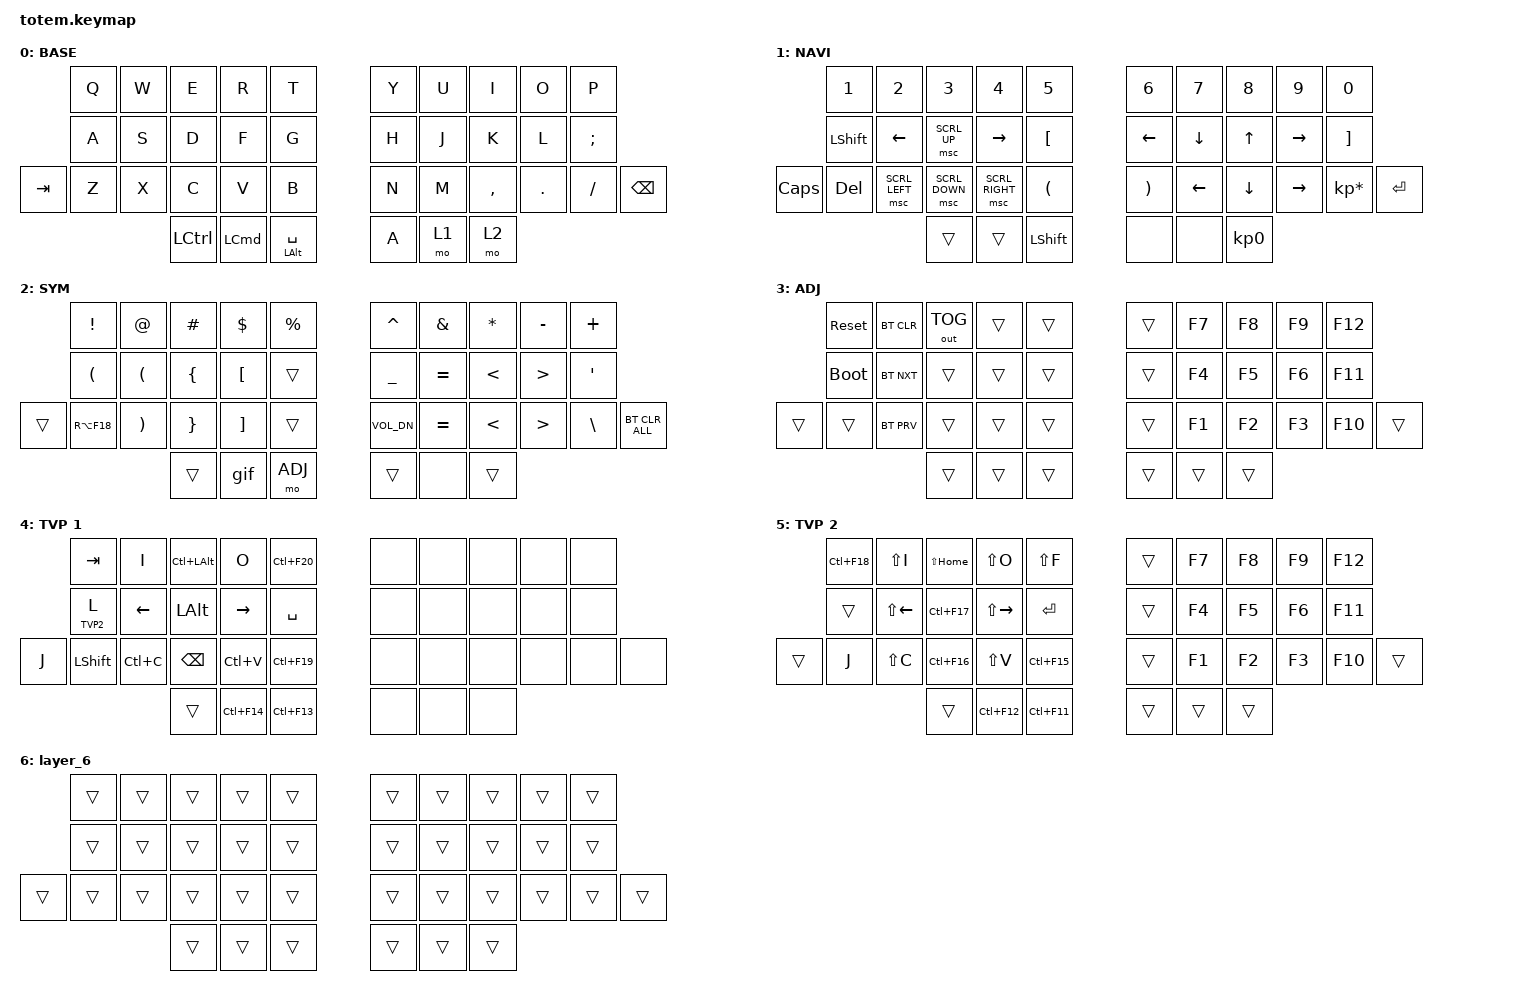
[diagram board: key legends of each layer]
//
//                                                        ▀▀▀▀▀     ▀▀▀▀▀          ▀▀█▀▀
//                                                        ▄▀▀▀▄  ▄  ▄▀▀▀▄  ▄  ▄▀▀▀▄  █  ▄▀▀▀▄
//                                                        █   █  █  █   █  █  █   █  █  █   █
//                                                         ▀▀▀   █   ▀▀▀   █   ▀▀▀   ▀   ▀▀▀
//                                                               █      ▄▄▄█▄▄▄    █   █  
//                                                               ▀      █  █  █     █▄█
//                                                             ▀▀▀▀▀    █  █  █      ▀
//                                                                      ▀  ▀  ▀
//
// ▄▄▄▄▄▄▄▄▄▄▄▄▄▄▄▄▄▄▄▄▄▄▄▄▄▄▄▄▄▄▄▄▄▄▄▄▄▄▄▄▄▄▄▄▄▄▄▄▄▄▄▄▄▄▄▄▄▄▄▄▄▄▄▄▄▄▄▄▄▄▄▄▄▄▄▄▄▄▄▄▄▄▄▄▄▄▄▄▄▄▄▄▄▄▄▄▄▄▄▄▄▄▄▄▄▄▄▄▄▄▄▄▄▄▄▄▄▄▄▄▄▄▄▄▄▄▄▄▄▄▄▄▄▄▄▄▄▄▄▄▄▄▄▄▄▄▄▄▄

#include <behaviors.dtsi>
#include <dt-bindings/zmk/bt.h>
#include <dt-bindings/zmk/keys.h>
#include <dt-bindings/zmk/outputs.h>
#include <dt-bindings/zmk/pointing.h>

#define BASE 0
#define NAV  1
#define SYM  2
#define ADJ  3
#define TVP1 4
#define TVP2 5

&mt {
    quick-tap-ms = <100>;
    global-quick-tap;
    flavor = "tap-preferred";
    tapping-term-ms = <170>;
};

/ {
    combos {
        compatible = "zmk,combos";

        combo_esc {
            timeout-ms = <50>;
            key-positions = <0 1>;
            bindings = <&kp ESC>;
        };

        combo_tvp {
            timeout-ms = <100>;
            key-positions = <11 12 13>;
            bindings = <&tog TVP1>;
        };

        enter {
            bindings = <&kp ENTER>;
            key-positions = <15 16>;
        };
    };

    macros {
        gif: gif {
            label = "giphy";
            compatible = "zmk,behavior-macro";
            #binding-cells = <0>;
            bindings =
                <&macro_press>,
                <&kp LSHFT>,
                <&macro_tap>,
                <&kp N2>,
                <&macro_release>,
                <&kp LSHFT>,
                <&macro_tap>,
                <&kp G &kp I &kp F>;
        };
    };

    keymap {
        compatible = "zmk,keymap";

        // ▄▄▄▄▄▄▄▄▄▄▄▄▄▄▄▄▄▄▄▄▄▄▄▄▄▄▄▄▄▄▄▄▄▄▄▄▄▄▄▄▄▄▄▄▄▄▄▄▄▄▄▄▄▄▄▄▄▄▄▄▄▄▄▄▄▄▄▄▄▄▄▄▄▄▄▄▄▄▄▄▄▄▄▄▄▄▄▄▄▄▄▄▄▄▄▄▄▄▄▄▄▄▄▄▄▄▄▄▄▄▄▄▄▄▄▄▄▄▄▄▄▄▄▄▄▄▄▄▄▄▄▄▄▄▄▄▄▄▄▄▄▄▄▄▄▄▄▄▄

        base_layer {
            // ┏━━━━━━━━━━━━━━━━━━━━━━━━━━━━━━━━━━━━━━━┓

            label = "BASE";

            // ┗━━━━━━━━━━━━━━━━━━━━━━━━━━━━━━━━━━━━━━━┛
            //             ┏━━━━━━━━━━━┳━━━━━━━━━━━┳━━━━━━━━━━━┳━━━━━━━━━━━┳━━━━━━━━━━━┓   ┏━━━━━━━━━━━┳━━━━━━━━━━━┳━━━━━━━━━━━┳━━━━━━━━━━━┳━━━━━━━━━━━┓
            //             ┃     Q     ┃     W     ┃     F     ┃     P     ┃     G     ┃   ┃     J     ┃     L     ┃     U     ┃     Y     ┃     ;     ┃
            //             ┣━━━━━━━━━━━╋━━━━━━━━━━━╋━━━━━━━━━━━╋━━━━━━━━━━━╋━━━━━━━━━━━┫   ┣━━━━━━━━━━━╋━━━━━━━━━━━╋━━━━━━━━━━━╋━━━━━━━━━━━╋━━━━━━━━━━━┫
            //             ┃     A     ┃     R     ┃     S     ┃     T     ┃     D     ┃   ┃     H     ┃     N     ┃     E     ┃     I     ┃     O     ┃
            // ┏━━━━━━━━━━━╋━━━━━━━━━━━╋━━━━━━━━━━━╋━━━━━━━━━━━╋━━━━━━━━━━━╋━━━━━━━━━━━┫   ┣━━━━━━━━━━━╋━━━━━━━━━━━╋━━━━━━━━━━━╋━━━━━━━━━━━╋━━━━━━━━━━━╋━━━━━━━━━━━┓
            // ┃     Q     ┃     Z     ┃     X     ┃     C     ┃     V     ┃     B     ┃   ┃     K     ┃     M     ┃     ,     ┃     .     ┃     /     ┃     \     ┃
            // ┗━━━━━━━━━━━┻━━━━━━━━━━━┻━━━━━━━━━━━╋━━━━━━━━━━━╋━━━━━━━━━━━╋━━━━━━━━━━━┫   ┣━━━━━━━━━━━╋━━━━━━━━━━━╋━━━━━━━━━━━╋━━━━━━━━━━━┻━━━━━━━━━━━┻━━━━━━━━━━━┛
            //                                     ┃    DEL    ┃    TAB    ┃    SPC    ┃   ┃   ENTER   ┃           ┃   BSPC    ┃
            //                                     ┗━━━━━━━━━━━┻━━━━━━━━━━━┻━━━━━━━━━━━┛   ┗━━━━━━━━━━━┻━━━━━━━━━━━┻━━━━━━━━━━━┛

            bindings = <
         &kp Q  &kp W  &kp E             &kp R             &kp T                 &kp Y  &kp U  &kp I      &kp O    &kp P
         &kp A  &kp S  &kp D             &kp F             &kp G                 &kp H  &kp J  &kp K      &kp L    &kp SEMICOLON
&kp TAB  &kp Z  &kp X  &kp C             &kp V             &kp B                 &kp N  &kp M  &kp COMMA  &kp DOT  &kp FSLH       &kp BACKSPACE
                       &kp LEFT_CONTROL  &kp LEFT_COMMAND  &mt LEFT_ALT SPACE    &kp A  &mo 1  &mo 2
            >;
        };

        // ▄▄▄▄▄▄▄▄▄▄▄▄▄▄▄▄▄▄▄▄▄▄▄▄▄▄▄▄▄▄▄▄▄▄▄▄▄▄▄▄▄▄▄▄▄▄▄▄▄▄▄▄▄▄▄▄▄▄▄▄▄▄▄▄▄▄▄▄▄▄▄▄▄▄▄▄▄▄▄▄▄▄▄▄▄▄▄▄▄▄▄▄▄▄▄▄▄▄▄▄▄▄▄▄▄▄▄▄▄▄▄▄▄▄▄▄▄▄▄▄▄▄▄▄▄▄▄▄▄▄▄▄▄▄▄▄▄▄▄▄▄▄▄▄▄▄▄▄▄

        nav_layer {
            // ┏━━━━━━━━━━━━━━━━━━━━━━━━━━━━━━━━━━━━━━━┓

            label = "NAVI";

            // ┗━━━━━━━━━━━━━━━━━━━━━━━━━━━━━━━━━━━━━━━┛
            //             ┏━━━━━━━━━━━┳━━━━━━━━━━━┳━━━━━━━━━━━┳━━━━━━━━━━━┳━━━━━━━━━━━┓   ┏━━━━━━━━━━━┳━━━━━━━━━━━┳━━━━━━━━━━━┳━━━━━━━━━━━┳━━━━━━━━━━━┓
            //             ┃           ┃           ┃     UP    ┃           ┃     {     ┃   ┃     }     ┃     7     ┃     8     ┃     9     ┃     +     ┃
            //             ┣━━━━━━━━━━━╋━━━━━━━━━━━╋━━━━━━━━━━━╋━━━━━━━━━━━╋━━━━━━━━━━━┫   ┣━━━━━━━━━━━╋━━━━━━━━━━━╋━━━━━━━━━━━╋━━━━━━━━━━━╋━━━━━━━━━━━┫
            //             ┃   SHIFT   ┃   LEFT    ┃    DOWN   ┃   RIGHT   ┃     [     ┃   ┃     ]     ┃     4     ┃     5     ┃     6     ┃     -     ┃
            // ┏━━━━━━━━━━━╋━━━━━━━━━━━╋━━━━━━━━━━━╋━━━━━━━━━━━╋━━━━━━━━━━━╋━━━━━━━━━━━┫   ┣━━━━━━━━━━━╋━━━━━━━━━━━╋━━━━━━━━━━━╋━━━━━━━━━━━╋━━━━━━━━━━━╋━━━━━━━━━━━┓
            // ┃           ┃           ┃   P UP    ┃  C LOCK   ┃  P DOWN   ┃     (     ┃   ┃     )     ┃     1     ┃     2     ┃     3     ┃     *     ┃           ┃
            // ┗━━━━━━━━━━━┻━━━━━━━━━━━┻━━━━━━━━━━━╋━━━━━━━━━━━╋━━━━━━━━━━━╋━━━━━━━━━━━┫   ┣━━━━━━━━━━━╋━━━━━━━━━━━╋━━━━━━━━━━━╋━━━━━━━━━━━┻━━━━━━━━━━━┻━━━━━━━━━━━┛
            //                                     ┃           ┃    TAB    ┃    SPC    ┃   ┃    DEL    ┃     0     ┃           ┃
            //                                     ┗━━━━━━━━━━━┻━━━━━━━━━━━┻━━━━━━━━━━━┛   ┗━━━━━━━━━━━┻━━━━━━━━━━━┻━━━━━━━━━━━┛

            bindings = <
              &kp NUMBER_1  &kp NUMBER_2    &kp NUMBER_3    &kp NUMBER_4     &kp N5            &kp NUMBER_6    &kp N7          &kp N8           &kp N9     &kp N0
              &kp LSHFT     &kp LEFT        &msc SCRL_UP    &kp RIGHT        &kp LBKT          &kp LEFT_ARROW  &kp DOWN_ARROW  &kp UP_ARROW     &kp RIGHT  &kp RIGHT_BRACKET
&kp CAPSLOCK  &kp DEL       &msc SCRL_LEFT  &msc SCRL_DOWN  &msc SCRL_RIGHT  &kp LPAR          &kp RPAR        &kp LEFT        &kp DOWN         &kp RIGHT  &kp KP_MULTIPLY    &kp RET
                                            &trans          &trans           &kp LEFT_SHIFT    &none           &none           &kp KP_NUMBER_0
            >;
        };

        // ▄▄▄▄▄▄▄▄▄▄▄▄▄▄▄▄▄▄▄▄▄▄▄▄▄▄▄▄▄▄▄▄▄▄▄▄▄▄▄▄▄▄▄▄▄▄▄▄▄▄▄▄▄▄▄▄▄▄▄▄▄▄▄▄▄▄▄▄▄▄▄▄▄▄▄▄▄▄▄▄▄▄▄▄▄▄▄▄▄▄▄▄▄▄▄▄▄▄▄▄▄▄▄▄▄▄▄▄▄▄▄▄▄▄▄▄▄▄▄▄▄▄▄▄▄▄▄▄▄▄▄▄▄▄▄▄▄▄▄▄▄▄▄▄▄▄▄▄▄

        sim_layer {
            // ┏━━━━━━━━━━━━━━━━━━━━━━━━━━━━━━━━━━━━━━━┓

            label = "SYM";

            // ┗━━━━━━━━━━━━━━━━━━━━━━━━━━━━━━━━━━━━━━━┛
            //             ┏━━━━━━━━━━━┳━━━━━━━━━━━┳━━━━━━━━━━━┳━━━━━━━━━━━┳━━━━━━━━━━━┓   ┏━━━━━━━━━━━┳━━━━━━━━━━━┳━━━━━━━━━━━┳━━━━━━━━━━━┳━━━━━━━━━━━┓
            //             ┃     !     ┃     @     ┃     #     ┃     $     ┃     %     ┃   ┃     ˆ     ┃     &     ┃     Ü     ┃     '     ┃     "     ┃
            //             ┣━━━━━━━━━━━╋━━━━━━━━━━━╋━━━━━━━━━━━╋━━━━━━━━━━━╋━━━━━━━━━━━┫   ┣━━━━━━━━━━━╋━━━━━━━━━━━╋━━━━━━━━━━━╋━━━━━━━━━━━╋━━━━━━━━━━━┫
            //             ┃     Ä     ┃           ┃    SZ     ┃           ┃           ┃   ┃   MUTE    ┃   YEN     ┃   EURO    ┃  POUND    ┃     Ö     ┃
            // ┏━━━━━━━━━━━╋━━━━━━━━━━━╋━━━━━━━━━━━╋━━━━━━━━━━━╋━━━━━━━━━━━╋━━━━━━━━━━━┫   ┣━━━━━━━━━━━╋━━━━━━━━━━━╋━━━━━━━━━━━╋━━━━━━━━━━━╋━━━━━━━━━━━╋━━━━━━━━━━━┓
            // ┃           ┃  EMAIL1   ┃  EMAIL2   ┃           ┃           ┃           ┃   ┃   VOL-    ┃   VOL+    ┃   LAST    ┃   NEXT    ┃     \     ┃           ┃
            // ┗━━━━━━━━━━━┻━━━━━━━━━━━┻━━━━━━━━━━━╋━━━━━━━━━━━╋━━━━━━━━━━━╋━━━━━━━━━━━┫   ┣━━━━━━━━━━━╋━━━━━━━━━━━╋━━━━━━━━━━━╋━━━━━━━━━━━┻━━━━━━━━━━━┻━━━━━━━━━━━┛
            //                                     ┃           ┃    GIF    ┃    ADJ    ┃   ┃           ┃           ┃           ┃
            //                                     ┗━━━━━━━━━━━┻━━━━━━━━━━━┻━━━━━━━━━━━┛   ┗━━━━━━━━━━━┻━━━━━━━━━━━┻━━━━━━━━━━━┛

            bindings = <
        &kp EXCL              &kp AT                 &kp HASH         &kp DLLR           &kp PRCNT    &kp CARET       &kp AMPS   &kp ASTERISK   &kp MINUS         &kp PLUS
        &kp LEFT_PARENTHESIS  &kp LEFT_PARENTHESIS   &kp LEFT_BRACE   &kp LEFT_BRACKET   &trans       &kp UNDERSCORE  &kp EQUAL  &kp LESS_THAN  &kp GREATER_THAN  &kp SQT
&trans  &kp RA(F18)           &kp RIGHT_PARENTHESIS  &kp RIGHT_BRACE  &kp RIGHT_BRACKET  &trans       &kp C_VOL_DN    &kp EQUAL  &kp LESS_THAN  &kp GREATER_THAN  &kp BSLH  &bt BT_CLR_ALL
                                                     &trans           &gif               &mo ADJ      &trans          &none      &trans
            >;
        };

        // ▄▄▄▄▄▄▄▄▄▄▄▄▄▄▄▄▄▄▄▄▄▄▄▄▄▄▄▄▄▄▄▄▄▄▄▄▄▄▄▄▄▄▄▄▄▄▄▄▄▄▄▄▄▄▄▄▄▄▄▄▄▄▄▄▄▄▄▄▄▄▄▄▄▄▄▄▄▄▄▄▄▄▄▄▄▄▄▄▄▄▄▄▄▄▄▄▄▄▄▄▄▄▄▄▄▄▄▄▄▄▄▄▄▄▄▄▄▄▄▄▄▄▄▄▄▄▄▄▄▄▄▄▄▄▄▄▄▄▄▄▄▄▄▄▄▄▄▄▄

        adjust_layer {
            // ┏━━━━━━━━━━━━━━━━━━━━━━━━━━━━━━━━━━━━━━━┓

            label = "ADJ";

            // ┗━━━━━━━━━━━━━━━━━━━━━━━━━━━━━━━━━━━━━━━┛
            //             ┏━━━━━━━━━━━┳━━━━━━━━━━━┳━━━━━━━━━━━┳━━━━━━━━━━━┳━━━━━━━━━━━┓   ┏━━━━━━━━━━━┳━━━━━━━━━━━┳━━━━━━━━━━━┳━━━━━━━━━━━┳━━━━━━━━━━━┓
            //             ┃   RESET   ┃ BT CLEAR  ┃  OUT TOG  ┃           ┃           ┃   ┃           ┃    F7     ┃    F8     ┃    F9     ┃    F12    ┃
            //             ┣━━━━━━━━━━━╋━━━━━━━━━━━╋━━━━━━━━━━━╋━━━━━━━━━━━╋━━━━━━━━━━━┫   ┣━━━━━━━━━━━╋━━━━━━━━━━━╋━━━━━━━━━━━╋━━━━━━━━━━━╋━━━━━━━━━━━┫
            //             ┃ BOOTLOAD  ┃ BT NEXT   ┃           ┃           ┃           ┃   ┃           ┃    F4     ┃    F5     ┃    F6     ┃    F11    ┃
            // ┏━━━━━━━━━━━╋━━━━━━━━━━━╋━━━━━━━━━━━╋━━━━━━━━━━━╋━━━━━━━━━━━╋━━━━━━━━━━━┫   ┣━━━━━━━━━━━╋━━━━━━━━━━━╋━━━━━━━━━━━╋━━━━━━━━━━━╋━━━━━━━━━━━╋━━━━━━━━━━━┓
            // ┃           ┃           ┃ BT PREV   ┃           ┃           ┃           ┃   ┃           ┃    F1     ┃    F2     ┃    F3     ┃    F10    ┃           ┃
            // ┗━━━━━━━━━━━┻━━━━━━━━━━━┻━━━━━━━━━━━╋━━━━━━━━━━━╋━━━━━━━━━━━╋━━━━━━━━━━━┫   ┣━━━━━━━━━━━╋━━━━━━━━━━━╋━━━━━━━━━━━╋━━━━━━━━━━━┻━━━━━━━━━━━┻━━━━━━━━━━━┛
            //                                     ┃           ┃           ┃           ┃   ┃           ┃           ┃           ┃
            //                                     ┗━━━━━━━━━━━┻━━━━━━━━━━━┻━━━━━━━━━━━┛   ┗━━━━━━━━━━━┻━━━━━━━━━━━┻━━━━━━━━━━━┛

            bindings = <
        &sys_reset   &bt BT_CLR  &out OUT_TOG  &trans  &trans    &trans  &kp F7  &kp F8  &kp F9  &kp F12
        &bootloader  &bt BT_NXT  &trans        &trans  &trans    &trans  &kp F4  &kp F5  &kp F6  &kp F11
&trans  &trans       &bt BT_PRV  &trans        &trans  &trans    &trans  &kp F1  &kp F2  &kp F3  &kp F10  &trans
                                 &trans        &trans  &trans    &trans  &trans  &trans
            >;
        };

        // ▄▄▄▄▄▄▄▄▄▄▄▄▄▄▄▄▄▄▄▄▄▄▄▄▄▄▄▄▄▄▄▄▄▄▄▄▄▄▄▄▄▄▄▄▄▄▄▄▄▄▄▄▄▄▄▄▄▄▄▄▄▄▄▄▄▄▄▄▄▄▄▄▄▄▄▄▄▄▄▄▄▄▄▄▄▄▄▄▄▄▄▄▄▄▄▄▄▄▄▄▄▄▄▄▄▄▄▄▄▄▄▄▄▄▄▄▄▄▄▄▄▄▄▄▄▄▄▄▄▄▄▄▄▄▄▄▄▄▄▄▄▄▄▄▄▄▄▄▄

        tvp1_layer {
            // ┏━━━━━━━━━━━━━━━━━━━━━━━━━━━━━━━━━━━━━━━┓

            label = "TVP 1";

            // ┗━━━━━━━━━━━━━━━━━━━━━━━━━━━━━━━━━━━━━━━┛
            //             ┏━━━━━━━━━━━┳━━━━━━━━━━━┳━━━━━━━━━━━┳━━━━━━━━━━━┳━━━━━━━━━━━┓   ┏━━━━━━━━━━━┳━━━━━━━━━━━┳━━━━━━━━━━━┳━━━━━━━━━━━┳━━━━━━━━━━━┓
            //             ┃ NEXT FILE ┃ MARK IN   ┃ ROTATE    ┃ MARK OUT  ┃ SHOW SNAP ┃   ┃           ┃           ┃           ┃           ┃           ┃
            //             ┣━━━━━━━━━━━╋━━━━━━━━━━━╋━━━━━━━━━━━╋━━━━━━━━━━━╋━━━━━━━━━━━┫   ┣━━━━━━━━━━━╋━━━━━━━━━━━╋━━━━━━━━━━━╋━━━━━━━━━━━╋━━━━━━━━━━━┫
            //             ┃ TVP II    ┃ LEFT      ┃ PAN       ┃ RIGHT     ┃ PLAY/FLIP ┃   ┃           ┃           ┃           ┃           ┃           ┃
            // ┏━━━━━━━━━━━╋━━━━━━━━━━━╋━━━━━━━━━━━╋━━━━━━━━━━━╋━━━━━━━━━━━╋━━━━━━━━━━━┫   ┣━━━━━━━━━━━╋━━━━━━━━━━━╋━━━━━━━━━━━╋━━━━━━━━━━━╋━━━━━━━━━━━╋━━━━━━━━━━━┓
            // ┃ FULLSCR   ┃ SHIFT     ┃ COPY      ┃ DELETE    ┃ PASTE     ┃ IMG MARK  ┃   ┃           ┃           ┃           ┃           ┃           ┃           ┃
            // ┗━━━━━━━━━━━┻━━━━━━━━━━━┻━━━━━━━━━━━╋━━━━━━━━━━━╋━━━━━━━━━━━╋━━━━━━━━━━━┫   ┣━━━━━━━━━━━╋━━━━━━━━━━━╋━━━━━━━━━━━╋━━━━━━━━━━━┻━━━━━━━━━━━┻━━━━━━━━━━━┛
            //                                     ┃           ┃ UNDO/SAVE ┃  SEL/MOV  ┃   ┃           ┃           ┃           ┃
            //                                     ┗━━━━━━━━━━━┻━━━━━━━━━━━┻━━━━━━━━━━━┛   ┗━━━━━━━━━━━┻━━━━━━━━━━━┻━━━━━━━━━━━┛

            bindings = <
       &kp TAB     &kp I      &kp LC(LALT)  &kp O        &kp LC(F20)    &none  &none  &none  &none  &none
       &lt TVP2 L  &kp LEFT   &kp LALT      &kp RIGHT    &kp SPACE      &none  &none  &none  &none  &none
&kp J  &kp LSHFT   &kp LC(C)  &kp BSPC      &kp LC(V)    &kp LC(F19)    &none  &none  &none  &none  &none  &none
                              &trans        &kp LC(F14)  &kp LC(F13)    &none  &none  &none
            >;
        };

        // ▄▄▄▄▄▄▄▄▄▄▄▄▄▄▄▄▄▄▄▄▄▄▄▄▄▄▄▄▄▄▄▄▄▄▄▄▄▄▄▄▄▄▄▄▄▄▄▄▄▄▄▄▄▄▄▄▄▄▄▄▄▄▄▄▄▄▄▄▄▄▄▄▄▄▄▄▄▄▄▄▄▄▄▄▄▄▄▄▄▄▄▄▄▄▄▄▄▄▄▄▄▄▄▄▄▄▄▄▄▄▄▄▄▄▄▄▄▄▄▄▄▄▄▄▄▄▄▄▄▄▄▄▄▄▄▄▄▄▄▄▄▄▄▄▄▄▄▄▄

        tvp2_layer {
            // ┏━━━━━━━━━━━━━━━━━━━━━━━━━━━━━━━━━━━━━━━┓

            label = "TVP 2";

            // ┗━━━━━━━━━━━━━━━━━━━━━━━━━━━━━━━━━━━━━━━┛
            //             ┏━━━━━━━━━━━┳━━━━━━━━━━━┳━━━━━━━━━━━┳━━━━━━━━━━━┳━━━━━━━━━━━┓   ┏━━━━━━━━━━━┳━━━━━━━━━━━┳━━━━━━━━━━━┳━━━━━━━━━━━┳━━━━━━━━━━━┓
            //             ┃ SOLO      ┃ TOGGLE IN ┃ RESET ROT ┃ TOGGLE OUT┃ TAKE SNAP ┃   ┃           ┃           ┃           ┃           ┃           ┃
            //             ┣━━━━━━━━━━━╋━━━━━━━━━━━╋━━━━━━━━━━━╋━━━━━━━━━━━╋━━━━━━━━━━━┫   ┣━━━━━━━━━━━╋━━━━━━━━━━━╋━━━━━━━━━━━╋━━━━━━━━━━━╋━━━━━━━━━━━┫
            //             ┃ ---       ┃ LAST KEY  ┃ NEW KEY   ┃ NEXT KEY  ┃ ENTER     ┃   ┃           ┃           ┃           ┃           ┃           ┃
            // ┏━━━━━━━━━━━╋━━━━━━━━━━━╋━━━━━━━━━━━╋━━━━━━━━━━━╋━━━━━━━━━━━╋━━━━━━━━━━━┫   ┣━━━━━━━━━━━╋━━━━━━━━━━━╋━━━━━━━━━━━╋━━━━━━━━━━━╋━━━━━━━━━━━╋━━━━━━━━━━━┓
            // ┃           ┃ FULLSCR   ┃ CPY2BRUSH ┃ DEL HEAD  ┃ PSTinPLACE┃ BOOK MARK ┃   ┃           ┃           ┃           ┃           ┃           ┃           ┃
            // ┗━━━━━━━━━━━┻━━━━━━━━━━━┻━━━━━━━━━━━╋━━━━━━━━━━━╋━━━━━━━━━━━╋━━━━━━━━━━━┫   ┣━━━━━━━━━━━╋━━━━━━━━━━━╋━━━━━━━━━━━╋━━━━━━━━━━━┻━━━━━━━━━━━┻━━━━━━━━━━━┛
            //                                     ┃           ┃ REDO/SAV1 ┃TRANS/WARP ┃   ┃           ┃           ┃           ┃
            //                                     ┗━━━━━━━━━━━┻━━━━━━━━━━━┻━━━━━━━━━━━┛   ┗━━━━━━━━━━━┻━━━━━━━━━━━┻━━━━━━━━━━━┛

            bindings = <
        &kp LC(F18)  &kp LS(I)     &kp LS(HOME)  &kp LS(O)      &kp LS(F)      &trans  &kp F7  &kp F8  &kp F9  &kp F12
        &trans       &kp LS(LEFT)  &kp LC(F17)   &kp LS(RIGHT)  &kp RET        &trans  &kp F4  &kp F5  &kp F6  &kp F11
&trans  &kp J        &kp LS(C)     &kp LC(F16)   &kp LS(V)      &kp LC(F15)    &trans  &kp F1  &kp F2  &kp F3  &kp F10  &trans
                                   &trans        &kp LC(F12)    &kp LC(F11)    &trans  &trans  &trans
            >;
        };

        layer_6 {
            bindings = <
        &trans  &trans  &trans  &trans  &trans    &trans  &trans  &trans  &trans  &trans
        &trans  &trans  &trans  &trans  &trans    &trans  &trans  &trans  &trans  &trans
&trans  &trans  &trans  &trans  &trans  &trans    &trans  &trans  &trans  &trans  &trans  &trans
                        &trans  &trans  &trans    &trans  &trans  &trans
            >;
        };
    };
};
